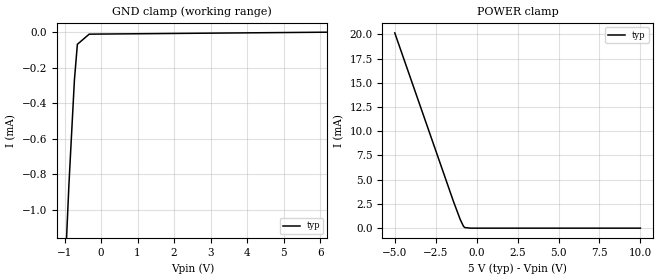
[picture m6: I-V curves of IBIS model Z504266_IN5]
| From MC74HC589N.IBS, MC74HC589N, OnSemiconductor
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| (C) COPYRIGHT 1993-2000
| MENTOR GRAPHICS CORPORATION
| ICX STANDARD LIBRARY, ICX PROJECT MODELING,
| ICX CUSTOM MODELING, ICX VENDOR MODEL
| ALL RIGHTS RESERVED.
| THE FOLLOWING ARE TRADEMARKS OR SERVICE MARKS OF
| MENTOR GRAPHICS CORPORATION:ICX (R), ICX STANDARD
| LIBRARY(R), ICX PROJECT MODELING(R), ICX CUSTOM
| MODELING(R), qualityIBIS(TM), MODELVIEWER(TM),
| AND MODELEDITOR(TM)
| ALL COPIES OF SOFTWARE, INCLUDING BUT NOT LIMITED TO
| ANY MODIFICATIONS, ENHANCEMENTS OR DERIVATIVE WORKS,
| MUST CONTAIN ALL MENTOR GRAPHICS CORPORATION'S
| NOTICES AND LEGENDS, INCLUDING THOSE EMBEDDED IN
| SOFTWARE AND THOSE AFFIXED TO SOFTWARE MEDIUM
| AND CONTAINER, AS RECEIVED FROM MENTOR GRAPHICS
| CORPORATION.
| Model Application Version 1.89 2/18/99.
[Model] Z504266_IN5
Model_type Input
Vinl = 1.000V
Vinh = 3.500V
C_comp 4.000pF NA NA
| variable typ   min   max
[Voltage Range] 5.000V NA NA
[GND Clamp Reference] 0.000V NA NA
[POWER Clamp Reference] 5.000V NA NA
[GND Clamp]
-5V       -19.97mA   NA         NA
-878.6mV  -856.4uA   NA         NA
-728.5mV  -268.7uA   NA         NA
-647.7mV  -67.65uA   NA         NA
-323.9mV  -10.45uA   NA         NA
10V       7.082uA    NA         NA
[POWER Clamp]
-5V       20.15mA    NA         NA
-1.406V   2.709mA    NA         NA
-1.005V   906.1uA    NA         NA
-811mV    212.8uA    NA         NA
-730mV    64.59uA    NA         NA
-365mV    0A         NA         NA
10V       0A         NA         NA
